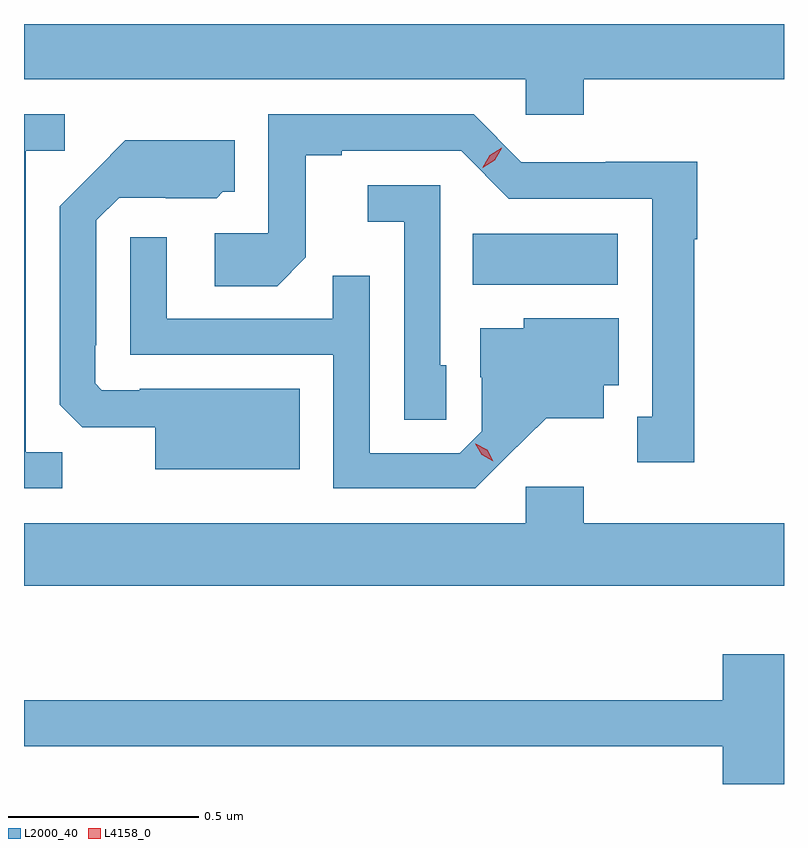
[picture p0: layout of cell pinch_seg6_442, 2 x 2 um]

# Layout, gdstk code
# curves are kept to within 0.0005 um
import gdstk
lib = gdstk.Library(unit=1e-6, precision=1e-09)
def R(c, l, rs):  # rectangles x0, y0, x1, y1
    for r in rs: c.add(gdstk.rectangle(r[:2], r[2:], *l))
def P(c, l, *ps):  # polygons
    for p in ps: c.add(gdstk.Polygon(p, *l))
L2000_40 = (2000, 40)
L4158_0 = (4158, 0)

pinch_seg6_442 = lib.new_cell('pinch_seg6_442')
R(pinch_seg6_442, L2000_40, [(714.346,925.484,714.727,925.618)])
P(pinch_seg6_442, L2000_40, [(714.638,926.024),(715.165,926.024),(715.165,926.17),(713.165,926.17),(713.165,926.024),(714.486,926.024),(714.486,925.931),(714.638,925.931)],
  [(713.265,925.043),(713.169,925.043),(713.169,925.836),(713.272,925.836),(713.272,925.932),(713.165,925.932),(713.165,924.948),(713.265,924.948)],
  [(714.929,925.603),(714.937,925.603),(714.937,925.808),(714.696,925.808),(714.696,925.806),(714.474,925.806),(714.348,925.932),(713.808,925.932),(713.808,925.62),(713.667,925.62),(713.667,925.48),(713.831,925.48),(713.907,925.556),(713.907,925.824),(714.001,925.824),(714.001,925.836),(714.315,925.836),(714.441,925.71),(714.818,925.71),(714.818,925.137),(714.779,925.137),(714.779,925.017),(714.929,925.017)],
  [(713.89,925.21),(713.47,925.21),(713.47,925.206),(713.37,925.206),(713.352,925.224),(713.352,925.324),(713.355,925.324),(713.355,925.653),(713.415,925.713),(713.538,925.713),(713.538,925.712),(713.672,925.712),(713.688,925.728),(713.719,925.728),(713.719,925.864),(713.431,925.864),(713.259,925.69),(713.259,925.168),(713.318,925.109),(713.51,925.109),(713.51,924.998),(713.89,924.998)],
  [(714.276,925.272),(714.261,925.272),(714.261,925.746),(714.069,925.746),(714.069,925.649),(714.165,925.649),(714.165,925.129),(714.276,925.129)],
  [(714.436,925.031),(714.539,925.133),(714.691,925.133),(714.691,925.22),(714.73,925.22),(714.73,925.396),(714.48,925.396),(714.48,925.369),(714.365,925.369),(714.365,925.24),(714.369,925.24),(714.369,925.098),(714.312,925.041),(714.075,925.041),(714.075,925.508),(713.977,925.508),(713.977,925.395),(713.541,925.395),(713.541,925.609),(713.445,925.609),(713.445,925.299),(713.979,925.299),(713.979,924.948),(714.352,924.948)],
  [(715.165,924.856),(714.638,924.856),(714.638,924.952),(714.486,924.952),(714.486,924.856),(713.165,924.856),(713.165,924.692),(715.165,924.692)],
  [(715.165,924.511),(715.004,924.511),(715.004,924.391),(713.165,924.391),(713.165,924.27),(715.004,924.27),(715.004,924.17),(715.165,924.17)])
P(pinch_seg6_442, L4158_0, [(714.4,925.02),(714.37,925.036),(714.353,925.066),(714.353,925.066),(714.354,925.066),(714.384,925.05),(714.4,925.02),(714.4,925.02)],
  [(714.372,925.792),(714.372,925.793),(714.39,925.825),(714.422,925.844),(714.422,925.844),(714.422,925.843),(714.404,925.811),(714.372,925.792)])

lib.write_gds('pinch_seg6_442.gds')
